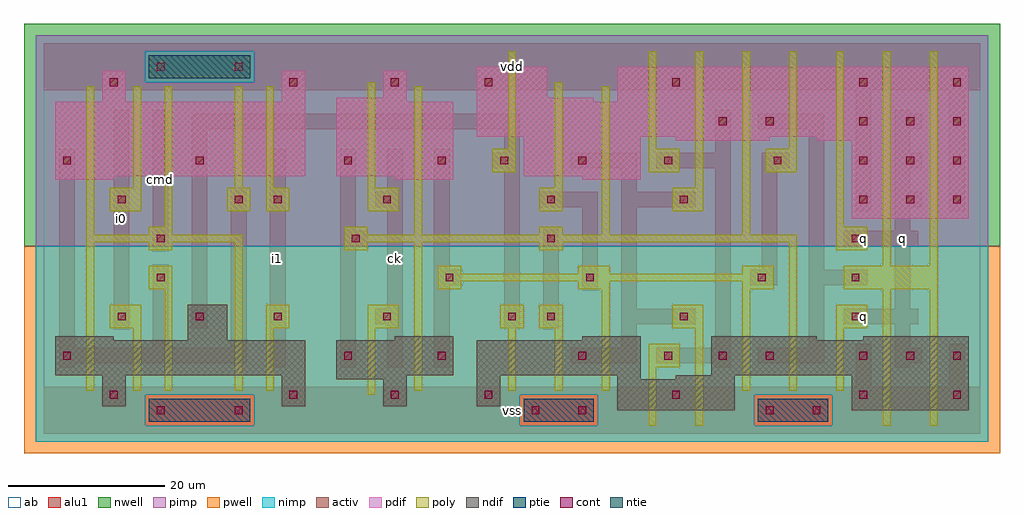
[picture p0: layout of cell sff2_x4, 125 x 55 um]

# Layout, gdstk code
import gdstk
lib = gdstk.Library(unit=1e-6, precision=1e-09)
def R(c, l, rs):  # rectangles x0, y0, x1, y1
    for r in rs: c.add(gdstk.rectangle(r[:2], r[2:], *l))
def A(c, l, x, y, w, h, nx, ny, dx, dy):  # array of equal rectangles
    R(c, l, [(x+i*dx, y+j*dy, x+i*dx+w, y+j*dy+h) for i in range(nx) for j in range(ny)])
ndif = (3, 0)
pdif = (4, 0)
ntie = (5, 0)
ptie = (6, 0)
cont = (25, 0)
pwell = (41, 0)
nwell = (42, 0)
activ = (43, 0)
pimp = (44, 0)
nimp = (45, 0)
poly = (46, 0)
alu1 = (49, 0)
ab = (63, 0)

sff2_x4 = lib.new_cell('sff2_x4')
R(sff2_x4, ndif, [(73.5,3,88.5,7), (103.5,3,118.5,7.5), (7.5,3.5,10.5,7.5), (30.5,3.5,33.5,7.5), (43.5,3.5,46.5,7), (55.5,3.5,58.5,7.5), (37.5,7,46.5,7.5), (73.5,7,76.5,7.5), (81,7,88.5,7.5), (1.5,7.5,33.5,12), (37.5,7.5,52.5,12), (55.5,7.5,76.5,12), (85.5,7.5,118.5,12), (1.5,12,9,12.5), (18.5,12,23.5,16.5), (45,12,52.5,12.5), (69,12,76.5,12.5), (85.5,12,99,12.5), (105,12,118.5,12.5)])
R(sff2_x4, pdif, [(103.5,27.5,118.5,37.5), (1.5,32.5,9,33), (45,32.5,52.5,33), (69,32.5,76.5,33), (1.5,33,33.5,42.5), (37.5,33,52.5,42.5), (61.5,33,76.5,38), (81,37.5,93,38), (99,37.5,118.5,38), (55.5,38,118.5,42.5), (7.5,42.5,10.5,46.5), (30.5,42.5,33.5,46.5), (37.5,42.5,46.5,43), (55.5,42.5,70.5,43), (73.5,42.5,118.5,47), (43.5,43,46.5,46.5), (55.5,43,64.5,47)])
R(sff2_x4, ntie, [(13.5,45.5,26.5,48.5)])
R(sff2_x4, ptie, [(13.5,1.5,26.5,4.5), (61.5,1.5,70.5,4.5), (91.5,1.5,100.5,4.5)])
A(sff2_x4, cont, 56.5, 4.5, 1, 1, 3, 2, 24, 40)
A(sff2_x4, cont, 104.5, 9.5, 1, 1, 3, 2, 6, 20)
A(sff2_x4, cont, 9.5, 14.5, 1, 1, 3, 1, 10, 0)
A(sff2_x4, cont, 103.5, 14.5, 1, 1, 1, 3, 0, 5)
A(sff2_x4, cont, 14.5, 24.5, 1, 1, 3, 1, 25, 0)
A(sff2_x4, cont, 104.5, 34.5, 1, 1, 3, 2, 6, 5)
R(sff2_x4, cont, [(14.5,2.5,15.5,3.5), (24.5,2.5,25.5,3.5), (62.5,2.5,63.5,3.5), (68.5,2.5,69.5,3.5), (92.5,2.5,93.5,3.5), (98.5,2.5,99.5,3.5), (8.5,4.5,9.5,5.5), (31.5,4.5,32.5,5.5), (44.5,4.5,45.5,5.5), (116.5,4.5,117.5,5.5), (2.5,9.5,3.5,10.5), (38.5,9.5,39.5,10.5), (50.5,9.5,51.5,10.5), (68.5,9.5,69.5,10.5), (79.5,9.5,80.5,10.5), (86.5,9.5,87.5,10.5), (92.5,9.5,93.5,10.5), (43.5,14.5,44.5,15.5), (59.5,14.5,60.5,15.5), (64.5,14.5,65.5,15.5), (81.5,14.5,82.5,15.5), (14.5,19.5,15.5,20.5), (51.5,19.5,52.5,20.5), (69.5,19.5,70.5,20.5), (91.5,19.5,92.5,20.5), (9.5,29.5,10.5,30.5), (24.5,29.5,25.5,30.5), (29.5,29.5,30.5,30.5), (43.5,29.5,44.5,30.5), (64.5,29.5,65.5,30.5), (81.5,29.5,82.5,30.5), (2.5,34.5,3.5,35.5), (19.5,34.5,20.5,35.5), (38.5,34.5,39.5,35.5), (50.5,34.5,51.5,35.5), (58.5,34.5,59.5,35.5), (68.5,34.5,69.5,35.5), (79.5,34.5,80.5,35.5), (93.5,34.5,94.5,35.5), (86.5,39.5,87.5,40.5), (92.5,39.5,93.5,40.5), (8.5,44.5,9.5,45.5), (31.5,44.5,32.5,45.5), (44.5,44.5,45.5,45.5), (116.5,44.5,117.5,45.5), (14.5,46.5,15.5,47.5), (24.5,46.5,25.5,47.5)])
R(sff2_x4, pwell, [(-2.5,-2.5,122.5,24)])
R(sff2_x4, nwell, [(-2.5,24,122.5,52.5)])
R(sff2_x4, activ, [(13.5,1.5,26.5,4.5), (61.5,1.5,70.5,4.5), (91.5,1.5,100.5,4.5), (73.5,3,88.5,7), (103.5,3,118.5,7.5), (7.5,3.5,10.5,7.5), (30.5,3.5,33.5,7.5), (43.5,3.5,46.5,7), (55.5,3.5,58.5,7.5), (37.5,7,46.5,7.5), (73.5,7,76.5,7.5), (81,7,88.5,7.5), (1.5,7.5,33.5,12), (37.5,7.5,52.5,12), (55.5,7.5,76.5,12), (85.5,7.5,118.5,12), (1.5,12,9,12.5), (18.5,12,23.5,16.5), (45,12,52.5,12.5), (69,12,76.5,12.5), (85.5,12,99,12.5), (105,12,118.5,12.5), (103.5,27.5,118.5,37.5), (1.5,32.5,9,33), (45,32.5,52.5,33), (69,32.5,76.5,33), (1.5,33,33.5,42.5), (37.5,33,52.5,42.5), (61.5,33,76.5,38), (81,37.5,93,38), (99,37.5,118.5,38), (55.5,38,118.5,42.5), (7.5,42.5,10.5,46.5), (30.5,42.5,33.5,46.5), (37.5,42.5,46.5,43), (55.5,42.5,70.5,43), (73.5,42.5,118.5,47), (43.5,43,46.5,46.5), (55.5,43,64.5,47), (13.5,45.5,26.5,48.5)])
R(sff2_x4, pimp, [(13,1,27,5), (61,1,71,5), (91,1,101,5), (-1,24,121,45), (-1,45,13,49), (27,45,121,49), (-1,49,121,51)])
R(sff2_x4, nimp, [(-1,-1,121,1), (-1,1,13,5), (27,1,61,5), (71,1,91,5), (101,1,121,5), (-1,5,121,24), (13,45,27,49)])
A(sff2_x4, poly, 13.5, 23.5, 3, 1, 3, 2, 25, 2)
A(sff2_x4, poly, 59.5, 36.5, 1, 12.5, 3, 1, 18, 0)
R(sff2_x4, poly, [(77.5,1,78.5,8.5), (83.5,1,84.5,13.5), (107.5,1,108.5,18.5), (113.5,1,114.5,18.5), (41.5,5,42.5,13.5), (5.5,5.5,6.5,24.5), (11.5,5.5,12.5,13.5), (15.5,5.5,16.5,18.5), (24.5,5.5,25.5,24.5), (28.5,5.5,29.5,13.5), (47.5,5.5,48.5,24.5), (59.5,5.5,60.5,13.5), (65.5,5.5,66.5,13.5), (71.5,5.5,72.5,18.5), (89.5,5.5,90.5,18.5), (95.5,5.5,96.5,24.5), (101.5,5.5,102.5,13.5), (77.5,8.5,81.5,11.5), (8.5,13.5,12.5,16.5), (28.5,13.5,31.5,16.5), (41.5,13.5,45.5,16.5), (58.5,13.5,61.5,16.5), (63.5,13.5,66.5,16.5), (80.5,13.5,84.5,16.5), (101.5,13.5,105.5,16.5), (13.5,18.5,16.5,21.5), (50.5,18.5,53.5,19.5), (68.5,18.5,72.5,19.5), (89.5,18.5,93.5,19.5), (102.5,18.5,114.5,21.5), (50.5,19.5,93.5,20.5), (50.5,20.5,53.5,21.5), (68.5,20.5,72.5,21.5), (89.5,20.5,93.5,21.5), (107.5,21.5,108.5,49), (113.5,21.5,114.5,49), (101.5,23.5,105.5,26.5), (5.5,24.5,25.5,25.5), (38.5,24.5,96.5,25.5), (5.5,25.5,6.5,44.5), (47.5,25.5,48.5,44.5), (71.5,25.5,72.5,44.5), (89.5,25.5,90.5,49), (15.5,26.5,16.5,44.5), (101.5,26.5,102.5,49), (8.5,28.5,12.5,31.5), (23.5,28.5,26.5,31.5), (28.5,28.5,31.5,31.5), (41.5,28.5,45.5,31.5), (63.5,28.5,66.5,31.5), (80.5,28.5,84.5,31.5), (11.5,31.5,12.5,44.5), (24.5,31.5,25.5,44.5), (28.5,31.5,29.5,44.5), (41.5,31.5,42.5,45), (65.5,31.5,66.5,45), (83.5,31.5,84.5,49), (57.5,33.5,60.5,36.5), (77.5,33.5,81.5,36.5), (92.5,33.5,96.5,36.5)])
R(sff2_x4, alu1, [(0,0,120,6), (0,0,120,6), (104,6,106,11.5), (104,6,106,11.5), (116,6,118,11.5), (116,6,118,11.5), (2,8.5,4,9), (2,8.5,4,9), (29,8.5,31,36.5), (29,8.5,31,36.5), (38,8.5,40,24), (38,8.5,40,24), (44,8.5,46,14), (44,8.5,46,14), (50,8.5,52,19), (50,8.5,52,19), (86,8.5,88,9), (86,8.5,88,9), (109,8.5,111,9), (109,8.5,111,9), (2,9,26,11), (2,9,26,11), (67.5,9,76,11), (67.5,9,76,11), (78.5,9,88,11), (78.5,9,88,11), (91.5,9,100,11), (91.5,9,100,11), (109,9,112.5,11), (109,9,112.5,11), (2,11,4,36.5), (2,11,4,36.5), (14,11,16,21.5), (14,11,16,21.5), (24,11,26,31.5), (24,11,26,31.5), (74,11,76,14), (74,11,76,14), (86,11,88,34), (86,11,88,34), (98,11,100,19), (98,11,100,19), (109,11,111,14), (109,11,111,14), (9,13.5,11,41.5), (9,13.5,11,41.5), (19,13.5,21,39), (19,13.5,21,39), (59,13.5,61,34), (59,13.5,61,34), (64,13.5,66,26.5), (64,13.5,66,26.5), (42.5,14,46,16), (42.5,14,46,16), (74,14,83.5,16), (74,14,83.5,16), (102.5,14,112,16), (102.5,14,112,16), (44,16,46,29), (44,16,46,29), (74,16,76,29), (74,16,76,29), (109,16,111,24), (109,16,111,24), (69,18.5,71,29), (69,18.5,71,29), (50,19,53.5,21), (50,19,53.5,21), (90.5,19,94,21), (90.5,19,94,21), (98,19,105.5,21), (98,19,105.5,21), (50,21,52,36.5), (50,21,52,36.5), (92,21,94,34), (92,21,94,34), (98,21,100,39), (98,21,100,39), (14,23.5,16,41.5), (14,23.5,16,41.5), (38,24,41.5,26), (38,24,41.5,26), (102.5,24,112,26), (102.5,24,112,26), (38,26,40,36.5), (38,26,40,36.5), (109,26,111,29), (109,26,111,29), (104,28.5,106,44), (104,28.5,106,44), (116,28.5,118,44), (116,28.5,118,44), (42.5,29,46,31), (42.5,29,46,31), (63.5,29,71,31), (63.5,29,71,31), (74,29,83.5,31), (74,29,83.5,31), (109,29,112.5,31), (109,29,112.5,31), (44,31,46,36.5), (44,31,46,36.5), (74,31,76,34), (74,31,76,34), (109,31,111,34), (109,31,111,34), (57.5,34,61,36), (57.5,34,61,36), (67.5,34,76,36), (67.5,34,76,36), (78.5,34,88,36), (78.5,34,88,36), (92,34,95.5,36), (92,34,95.5,36), (109,34,112.5,36), (109,34,112.5,36), (59,36,61,39), (59,36,61,39), (86,36,88,41.5), (86,36,88,41.5), (109,36,111,39), (109,36,111,39), (19,39,61,41), (19,39,61,41), (91.5,39,100,41), (91.5,39,100,41), (109,39,112.5,41), (109,39,112.5,41), (109,41,111,41.5), (109,41,111,41.5), (0,44,120,50), (0,44,120,50)])
R(sff2_x4, ab, [(0,0,120,50)])
sff2_x4.add(gdstk.Label('i0', (10,27.5), layer=49, texttype=0))
sff2_x4.add(gdstk.Label('cmd', (15,32.5), layer=49, texttype=0))
sff2_x4.add(gdstk.Label('ck', (45,22.5), layer=49, texttype=0))
sff2_x4.add(gdstk.Label('i1', (30,22.5), layer=49, texttype=0))
sff2_x4.add(gdstk.Label('vss', (60,3), layer=49, texttype=0))
sff2_x4.add(gdstk.Label('vdd', (60,47), layer=49, texttype=0))
sff2_x4.add(gdstk.Label('q', (105,15), layer=49, texttype=0))
sff2_x4.add(gdstk.Label('q', (110,25), layer=49, texttype=0))
sff2_x4.add(gdstk.Label('q', (105,25), layer=49, texttype=0))

lib.write_gds('sff2_x4.gds')
